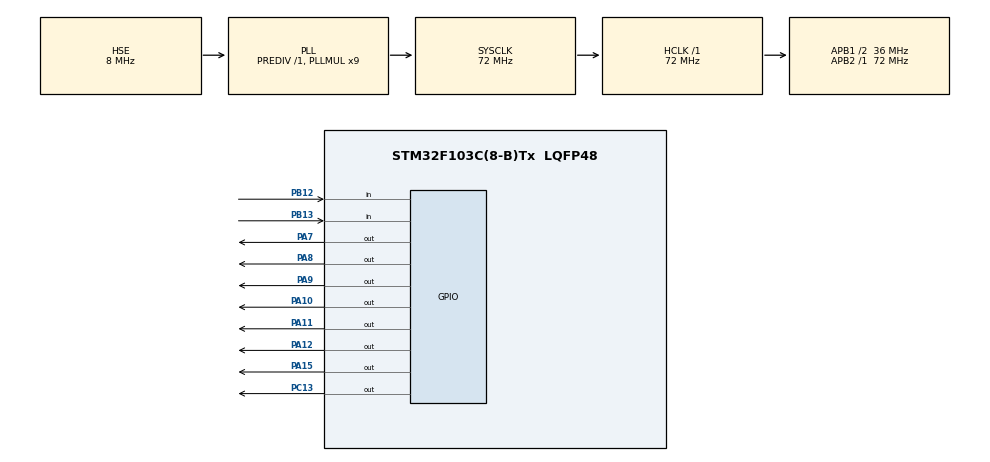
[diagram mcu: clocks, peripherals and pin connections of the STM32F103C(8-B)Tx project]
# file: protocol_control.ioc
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Mcu.Family=STM32F1
Mcu.Name=STM32F103C(8-B)Tx
Mcu.Package=LQFP48
NVIC.PriorityGroup=NVIC_PRIORITYGROUP_4
NVIC.TIM2_IRQn=true\:0\:0\:false\:false\:true\:true\:true
PA10.Signal=GPIO_Output
PA11.Signal=GPIO_Output
PA12.Signal=GPIO_Output
PA13.Mode=Serial_Wire
PA13.Signal=SYS_JTMS-SWDIO
PA14.Mode=Serial_Wire
PA14.Signal=SYS_JTCK-SWCLK
PA15.Signal=GPIO_Output
PA7.Signal=GPIO_Output
PA8.Signal=GPIO_Output
PA9.Signal=GPIO_Output
PB12.Signal=GPIO_Input
PB13.Signal=GPIO_Input
PC13-TAMPER-RTC.Signal=GPIO_Output
PD0-OSC_IN.Mode=HSE-External-Oscillator
PD0-OSC_IN.Signal=RCC_OSC_IN
PD1-OSC_OUT.Mode=HSE-External-Oscillator
PD1-OSC_OUT.Signal=RCC_OSC_OUT
ProjectManager.HeapSize=0x200
ProjectManager.StackSize=0x400
ProjectManager.TargetToolchain=STM32CubeIDE
RCC.AHBFreq_Value=72000000
RCC.APB1CLKDivider=RCC_HCLK_DIV2
RCC.APB1Freq_Value=36000000
RCC.APB1TimFreq_Value=72000000
RCC.APB2Freq_Value=72000000
RCC.APB2TimFreq_Value=72000000
RCC.HCLKFreq_Value=72000000
RCC.PLLMUL=RCC_PLL_MUL9
RCC.PLLSourceVirtual=RCC_PLLSOURCE_HSE
RCC.SYSCLKFreq_VALUE=72000000
RCC.SYSCLKSource=RCC_SYSCLKSOURCE_PLLCLK
RCC.USBFreq_Value=72000000
TIM2.Period=1
TIM2.Prescaler=35999
TIM3.Prescaler=71
VP_TIM2_VS_ClockSourceINT.Mode=Internal
VP_TIM3_VS_ClockSourceINT.Mode=Internal
board=custom

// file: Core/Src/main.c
/* USER CODE BEGIN Header */
/**
  ******************************************************************************
  * @file           : main.c
  * @brief          : Main program body
  ******************************************************************************
  * @attention
  *
  * <h2><center>&copy; Copyright (c) 2020 STMicroelectronics.
  * All rights reserved.</center></h2>
  *
  * This software component is licensed by ST under BSD 3-Clause license,
  * the "License"; You may not use this file except in compliance with the
  * License. You may obtain a copy of the License at:
  *                        opensource.org/licenses/BSD-3-Clause
  *
  ******************************************************************************
  */
/* USER CODE END Header */

#include "main.h"

/* USER CODE BEGIN Includes */
#include "LiquidCrystal.h"
/* USER CODE END Includes */

/* USER CODE BEGIN PD */
volatile uint32_t save = 0;
volatile int time = 0;
volatile int state = 0;
volatile int band = 0;
/* USER CODE END PD */

TIM_HandleTypeDef htim2;
TIM_HandleTypeDef htim3;

void SystemClock_Config(void);
static void MX_GPIO_Init(void);
static void MX_TIM2_Init(void);
static void MX_TIM3_Init(void);

/* USER CODE BEGIN 0 */
void menu();
void mod_set(uint32_t vect[]);
void mod_run(uint32_t vect[]);
uint32_t grabar();
void imprimir(uint32_t vect[], char str);
/* USER CODE END 0 */

int main(void)
{

  /* MCU Configuration--------------------------------------------------------*/

  /* Reset of all peripherals, Initializes the Flash interface and the Systick. */
  HAL_Init();

  /* Configure the system clock */
  SystemClock_Config();

  /* Initialize all configured peripherals */
  MX_GPIO_Init();
  MX_TIM2_Init();
  MX_TIM3_Init();
  /* USER CODE BEGIN 2 */
  HAL_TIM_Base_Start(&htim3);
  HAL_TIM_Base_Start_IT(&htim2);
  LiquidCrystal(GPIOA,GPIO_PIN_7,GPIO_PIN_8,GPIO_PIN_9,GPIO_PIN_10,GPIO_PIN_11,GPIO_PIN_12,GPIO_PIN_15);
  /* USER CODE END 2 */

  /* Infinite loop */
  /* USER CODE BEGIN WHILE */
  while (1)
  {
	  //menu();
	  print("holamundo");
    /* USER CODE END WHILE */

  }
}

void SystemClock_Config(void)
{
  RCC_OscInitTypeDef RCC_OscInitStruct = {0};
  RCC_ClkInitTypeDef RCC_ClkInitStruct = {0};

  /** Initializes the CPU, AHB and APB busses clocks
  */
  RCC_OscInitStruct.OscillatorType = RCC_OSCILLATORTYPE_HSE;
  RCC_OscInitStruct.HSEState = RCC_HSE_ON;
  RCC_OscInitStruct.HSEPredivValue = RCC_HSE_PREDIV_DIV1;
  RCC_OscInitStruct.HSIState = RCC_HSI_ON;
  RCC_OscInitStruct.PLL.PLLState = RCC_PLL_ON;
  RCC_OscInitStruct.PLL.PLLSource = RCC_PLLSOURCE_HSE;
  RCC_OscInitStruct.PLL.PLLMUL = RCC_PLL_MUL9;
  if (HAL_RCC_OscConfig(&RCC_OscInitStruct) != HAL_OK)
  {
    Error_Handler();
  }
  /** Initializes the CPU, AHB and APB busses clocks
  */
  RCC_ClkInitStruct.ClockType = RCC_CLOCKTYPE_HCLK|RCC_CLOCKTYPE_SYSCLK
                              |RCC_CLOCKTYPE_PCLK1|RCC_CLOCKTYPE_PCLK2;
  RCC_ClkInitStruct.SYSCLKSource = RCC_SYSCLKSOURCE_PLLCLK;
  RCC_ClkInitStruct.AHBCLKDivider = RCC_SYSCLK_DIV1;
  RCC_ClkInitStruct.APB1CLKDivider = RCC_HCLK_DIV2;
  RCC_ClkInitStruct.APB2CLKDivider = RCC_HCLK_DIV1;

  if (HAL_RCC_ClockConfig(&RCC_ClkInitStruct, FLASH_LATENCY_2) != HAL_OK)
  {
    Error_Handler();
  }
}

static void MX_TIM2_Init(void)
{

  TIM_ClockConfigTypeDef sClockSourceConfig = {0};
  TIM_MasterConfigTypeDef sMasterConfig = {0};

  htim2.Instance = TIM2;
  htim2.Init.Prescaler = 35999;
  htim2.Init.CounterMode = TIM_COUNTERMODE_UP;
  htim2.Init.Period = 1;
  htim2.Init.ClockDivision = TIM_CLOCKDIVISION_DIV1;
  htim2.Init.AutoReloadPreload = TIM_AUTORELOAD_PRELOAD_DISABLE;
  if (HAL_TIM_Base_Init(&htim2) != HAL_OK)
  {
    Error_Handler();
  }
  sClockSourceConfig.ClockSource = TIM_CLOCKSOURCE_INTERNAL;
  if (HAL_TIM_ConfigClockSource(&htim2, &sClockSourceConfig) != HAL_OK)
  {
    Error_Handler();
  }
  sMasterConfig.MasterOutputTrigger = TIM_TRGO_RESET;
  sMasterConfig.MasterSlaveMode = TIM_MASTERSLAVEMODE_DISABLE;
  if (HAL_TIMEx_MasterConfigSynchronization(&htim2, &sMasterConfig) != HAL_OK)
  {
    Error_Handler();
  }

}

static void MX_TIM3_Init(void)
{

  TIM_ClockConfigTypeDef sClockSourceConfig = {0};
  TIM_MasterConfigTypeDef sMasterConfig = {0};

  htim3.Instance = TIM3;
  htim3.Init.Prescaler = 71;
  htim3.Init.CounterMode = TIM_COUNTERMODE_UP;
  htim3.Init.Period = 0;
  htim3.Init.ClockDivision = TIM_CLOCKDIVISION_DIV1;
  htim3.Init.AutoReloadPreload = TIM_AUTORELOAD_PRELOAD_DISABLE;
  if (HAL_TIM_Base_Init(&htim3) != HAL_OK)
  {
    Error_Handler();
  }
  sClockSourceConfig.ClockSource = TIM_CLOCKSOURCE_INTERNAL;
  if (HAL_TIM_ConfigClockSource(&htim3, &sClockSourceConfig) != HAL_OK)
  {
    Error_Handler();
  }
  sMasterConfig.MasterOutputTrigger = TIM_TRGO_RESET;
  sMasterConfig.MasterSlaveMode = TIM_MASTERSLAVEMODE_DISABLE;
  if (HAL_TIMEx_MasterConfigSynchronization(&htim3, &sMasterConfig) != HAL_OK)
  {
    Error_Handler();
  }

}

static void MX_GPIO_Init(void)
{
  GPIO_InitTypeDef GPIO_InitStruct = {0};

  /* GPIO Ports Clock Enable */
  __HAL_RCC_GPIOC_CLK_ENABLE();
  __HAL_RCC_GPIOD_CLK_ENABLE();
  __HAL_RCC_GPIOA_CLK_ENABLE();
  __HAL_RCC_GPIOB_CLK_ENABLE();

  /*Configure GPIO pin Output Level */
  HAL_GPIO_WritePin(GPIOC, GPIO_PIN_13, GPIO_PIN_RESET);

  /*Configure GPIO pin Output Level */
  HAL_GPIO_WritePin(GPIOA, GPIO_PIN_7|GPIO_PIN_8|GPIO_PIN_9|GPIO_PIN_10
                          |GPIO_PIN_11|GPIO_PIN_12|GPIO_PIN_15, GPIO_PIN_RESET);

  /*Configure GPIO pin : PC13 */
  GPIO_InitStruct.Pin = GPIO_PIN_13;
  GPIO_InitStruct.Mode = GPIO_MODE_OUTPUT_PP;
  GPIO_InitStruct.Pull = GPIO_NOPULL;
  GPIO_InitStruct.Speed = GPIO_SPEED_FREQ_LOW;
  HAL_GPIO_Init(GPIOC, &GPIO_InitStruct);

  /*Configure GPIO pins : PA7 PA8 PA9 PA10
                           PA11 PA12 PA15 */
  GPIO_InitStruct.Pin = GPIO_PIN_7|GPIO_PIN_8|GPIO_PIN_9|GPIO_PIN_10
                          |GPIO_PIN_11|GPIO_PIN_12|GPIO_PIN_15;
  GPIO_InitStruct.Mode = GPIO_MODE_OUTPUT_PP;
  GPIO_InitStruct.Pull = GPIO_NOPULL;
  GPIO_InitStruct.Speed = GPIO_SPEED_FREQ_LOW;
  HAL_GPIO_Init(GPIOA, &GPIO_InitStruct);

  /*Configure GPIO pins : PB12 PB13 */
  GPIO_InitStruct.Pin = GPIO_PIN_12|GPIO_PIN_13;
  GPIO_InitStruct.Mode = GPIO_MODE_INPUT;
  GPIO_InitStruct.Pull = GPIO_NOPULL;
  HAL_GPIO_Init(GPIOB, &GPIO_InitStruct);

}

/* USER CODE BEGIN 4 */
void menu(){
	volatile uint32_t vect[10];
	int button = 0;
	button = HAL_GPIO_ReadPin(GPIOB, GPIO_PIN_12);
	time = 0;
	while(button == GPIO_PIN_SET){
		button = HAL_GPIO_ReadPin(GPIOB, GPIO_PIN_12);
		band = 1;
	}
	band = 0;
	if(time > 5000){
		state = 1;
	}else if (time > 0 && time <= 1000){
		state = 2;
	}
	switch (state) {
		case 1:
			mod_set(vect);
			break;
		case 2:
			mod_run(vect);
			break;
		default:
			break;
	}
}
void mod_set(uint32_t vect[]){
	int button = 0;
	int comando = 0;
	uint32_t lectura;
	while(comando < 10){
		print("modo set: ingrese comando");
		lectura = grabar();
		button = HAL_GPIO_ReadPin(GPIOB, GPIO_PIN_12);
		time = 0;
		while(button == GPIO_PIN_SET){
			button = HAL_GPIO_ReadPin(GPIOB, GPIO_PIN_12);
			band = 1;
		}
		band = 0;
		if (time > 0){
			comando ++;
		}
	}

}
void mod_run(uint32_t vect[]){

}
uint32_t grabar(){
	uint32_t data = 0;
	__HAL_TIM_SET_COUNTER(&htim3,0);
	//while(!HAL_GPIO_ReadPin(GPIOB, GPIO_Pin_13));

	return data;
}
void imprimir(uint32_t vect[], char str){

}
void HAL_TIM_PeriodElapsedCallback(TIM_HandleTypeDef *htim){
	if(htim->Instance == TIM2 ){
		HAL_GPIO_TogglePin(GPIOC, GPIO_PIN_13);
		if (band == 1){
			time++;
		}
	}
}
/* USER CODE END 4 */

void Error_Handler(void)
{
}

/************************ (C) COPYRIGHT STMicroelectronics *****END OF FILE****/
